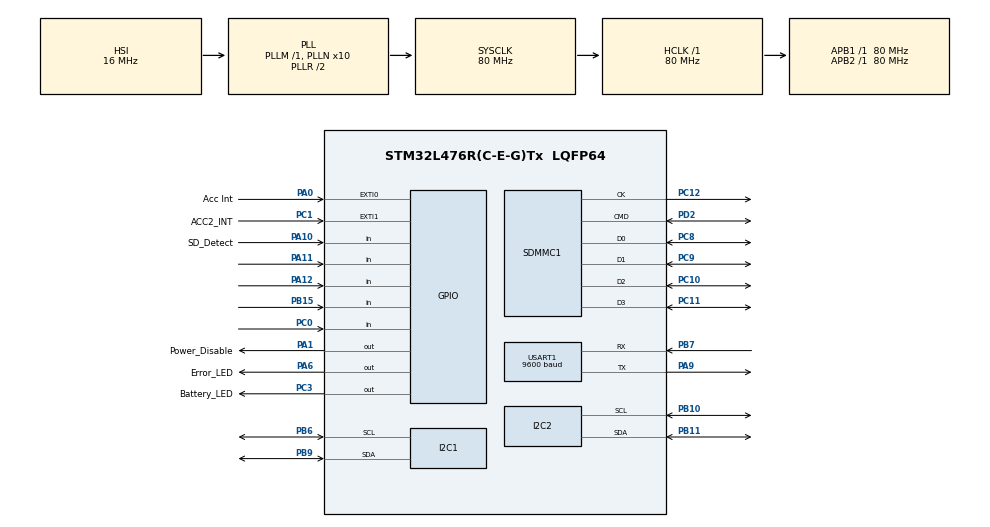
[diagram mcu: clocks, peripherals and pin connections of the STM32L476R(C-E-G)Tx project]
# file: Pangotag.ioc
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Dma.Request0=SDMMC1_RX
Dma.Request1=SDMMC1_TX
Dma.SDMMC1_RX.0.Direction=DMA_PERIPH_TO_MEMORY
Dma.SDMMC1_RX.0.Instance=DMA2_Channel5
Dma.SDMMC1_RX.0.MemDataAlignment=DMA_MDATAALIGN_WORD
Dma.SDMMC1_RX.0.MemInc=DMA_MINC_ENABLE
Dma.SDMMC1_RX.0.Mode=DMA_NORMAL
Dma.SDMMC1_RX.0.PeriphDataAlignment=DMA_PDATAALIGN_WORD
Dma.SDMMC1_RX.0.PeriphInc=DMA_PINC_DISABLE
Dma.SDMMC1_RX.0.Priority=DMA_PRIORITY_LOW
Dma.SDMMC1_TX.1.Direction=DMA_MEMORY_TO_PERIPH
Dma.SDMMC1_TX.1.Instance=DMA2_Channel4
Dma.SDMMC1_TX.1.MemDataAlignment=DMA_MDATAALIGN_WORD
Dma.SDMMC1_TX.1.MemInc=DMA_MINC_ENABLE
Dma.SDMMC1_TX.1.Mode=DMA_NORMAL
Dma.SDMMC1_TX.1.PeriphDataAlignment=DMA_PDATAALIGN_WORD
Dma.SDMMC1_TX.1.PeriphInc=DMA_PINC_DISABLE
Dma.SDMMC1_TX.1.Priority=DMA_PRIORITY_LOW
FATFS.BSP.number=1
FATFS.USE_DMA_CODE_SD=1
FATFS._FS_EXFAT=1
FATFS._USE_LFN=1
FATFS0.BSP.STBoard=false
FATFS0.BSP.api=Unknown
FATFS0.BSP.instance=PA10
FATFS0.BSP.ip=GPIO
FATFS0.BSP.mode=Input
FATFS0.BSP.name=Detect_SDIO
FATFS0.BSP.solution=PA10
I2C1.Timing=0x10D19CE4
I2C2.Timing=0x10D19CE4
Mcu.Family=STM32L4
Mcu.Name=STM32L476R(C-E-G)Tx
Mcu.Package=LQFP64
NVIC.DMA2_Channel4_IRQn=true\:0\:0\:false\:false\:true\:false\:true\:true
NVIC.DMA2_Channel5_IRQn=true\:0\:0\:false\:false\:true\:false\:true\:true
NVIC.EXTI0_IRQn=true\:0\:0\:false\:false\:true\:true\:true\:true
NVIC.EXTI1_IRQn=true\:0\:0\:false\:false\:true\:true\:true\:true
NVIC.PriorityGroup=NVIC_PRIORITYGROUP_4
NVIC.SDMMC1_IRQn=true\:0\:0\:false\:false\:true\:true\:true\:true
NVIC.USART1_IRQn=true\:0\:0\:false\:false\:true\:true\:true\:true
PA0.GPIO_Label=Acc Int
PA0.Signal=GPXTI0
PA1.GPIO_Label=Power_Disable
PA1.Signal=GPIO_Output
PA10.GPIO_Label=SD_Detect
PA10.Signal=GPIO_Input
PA11.Signal=GPIO_Input
PA12.Signal=GPIO_Input
PA13\ (JTMS-SWDIO).Signal=SYS_JTMS-SWDIO
PA14\ (JTCK-SWCLK).Signal=SYS_JTCK-SWCLK
PA6.GPIO_Label=Error_LED
PA6.Signal=GPIO_Output
PA9.GPIO_ModeDefaultPP=GPIO_MODE_AF_PP
PA9.Mode=Asynchronous
PA9.Signal=USART1_TX
PB10.Mode=I2C
PB10.Signal=I2C2_SCL
PB11.Mode=I2C
PB11.Signal=I2C2_SDA
PB15.Signal=GPIO_Input
PB3\ (JTDO-TRACESWO).Signal=SYS_JTDO-SWO
PB6.Mode=I2C
PB6.Signal=I2C1_SCL
PB7.GPIO_PuPd=GPIO_PULLUP
PB7.Mode=Asynchronous
PB7.Signal=USART1_RX
PB9.Mode=I2C
PB9.Signal=I2C1_SDA
PC0.Signal=GPIO_Input
PC1.GPIO_Label=ACC2_INT
PC1.Signal=GPXTI1
PC10.Mode=SD_4_bits_Wide_bus
PC10.Signal=SDMMC1_D2
PC11.Mode=SD_4_bits_Wide_bus
PC11.Signal=SDMMC1_D3
PC12.Mode=SD_4_bits_Wide_bus
PC12.Signal=SDMMC1_CK
PC3.GPIO_Label=Battery_LED
PC3.Signal=GPIO_Output
PC8.Mode=SD_4_bits_Wide_bus
PC8.Signal=SDMMC1_D0
PC9.Mode=SD_4_bits_Wide_bus
PC9.Signal=SDMMC1_D1
PD2.Mode=SD_4_bits_Wide_bus
PD2.Signal=SDMMC1_CMD
ProjectManager.HeapSize=0x200
ProjectManager.StackSize=0x400
ProjectManager.TargetToolchain=Makefile
RCC.ADCFreq_Value=64000000
RCC.AHBFreq_Value=80000000
RCC.APB1Freq_Value=80000000
RCC.APB1TimFreq_Value=80000000
RCC.APB2Freq_Value=80000000
RCC.APB2TimFreq_Value=80000000
RCC.CortexFreq_Value=80000000
RCC.HCLKFreq_Value=80000000
RCC.HSE_VALUE=8000000
RCC.HSI_VALUE=16000000
RCC.LSE_VALUE=32768
RCC.MSI_VALUE=4000000
RCC.PLLN=10
RCC.PLLSAI1Q=RCC_PLLQ_DIV4
RCC.PLLSourceVirtual=RCC_PLLSOURCE_HSI
RCC.SYSCLKFreq_VALUE=80000000
RCC.SYSCLKSource=RCC_SYSCLKSOURCE_PLLCLK
RCC.USBFreq_Value=32000000
RCC.VCOOutputFreq_Value=160000000
RTC.Format=RTC_FORMAT_BIN
RTC.HourFormat=RTC_HOURFORMAT_24
USART1.BaudRate=9600
USART1.Mode=MODE_TX_RX
USART1.VirtualMode-Asynchronous=VM_ASYNC
VP_FATFS_VS_SDIO.Mode=SDIO
VP_RTC_VS_RTC_Activate.Mode=RTC_Enabled
VP_RTC_VS_RTC_Calendar.Mode=RTC_Calendar
board=custom

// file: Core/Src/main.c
/* USER CODE BEGIN Header */
/**
  ******************************************************************************
  * @file           : main.c
  * @brief          : Main program body
  ******************************************************************************
  * @attention
  *
  * Copyright (c) 2026 STMicroelectronics.
  * All rights reserved.
  *
  * This software is licensed under terms that can be found in the LICENSE file
  * in the root directory of this software component.
  * If no LICENSE file comes with this software, it is provided AS-IS.
  *
  ******************************************************************************
  */
/* USER CODE END Header */
#include "main.h"
#include "dma.h"
#include "fatfs.h"
#include "i2c.h"
#include "rtc.h"
#include "sdmmc.h"
#include "usart.h"
#include "gpio.h"

/* USER CODE BEGIN Includes */
#include "libs.h"
/* USER CODE END Includes */

/* USER CODE BEGIN PTD */
extern const uint8_t bmi270_config_file[];

/* USER CODE END PTD */

/* USER CODE BEGIN PD */
volatile bool fifo_wm_flag = false;
DMA_HandleTypeDef hdma_sdmmc1;
void HAL_UART_ErrorCallback(UART_HandleTypeDef *huart)
{
    printf("UART Error: %lu\r\n", huart->ErrorCode);
}
/* USER CODE END PD */

/* USER CODE BEGIN PV */
uint32_t last_sec = 0;
/* USER CODE END PV */

void SystemClock_Config(void);
/* USER CODE BEGIN PFP */
int _write(int file, char *ptr, int len)
{
    for (int i = 0; i < len; i++) {
        ITM_SendChar(*ptr++);
    }
    return len;
}

void HAL_GPIO_EXTI_Callback(uint16_t GPIO_Pin)
{
    if (GPIO_Pin == ACC2_INT_Pin)
    {
        //printf("Interrupt!\n");
        fifo_wm_flag = true;
    }
    if (GPIO_Pin == Acc_Int_Pin) {
      printf("accelerometer interrupt received.\n");
    }
}

void delay_us(uint32_t us, void *intf_ptr)
{
    uint32_t start = DWT->CYCCNT;
    uint32_t ticks = us * (SystemCoreClock / 1000000);

    while ((DWT->CYCCNT - start) < ticks);
}

void update_LED(uint32_t elapsed, uint32_t interval) {
  if ((elapsed / interval) % 2 == 0) {
    //HAL_GPIO_WritePin(Error_LED_GPIO_Port, Error_LED_Pin, GPIO_PIN_SET);
    HAL_GPIO_WritePin(Battery_LED_GPIO_Port, Battery_LED_Pin, GPIO_PIN_SET);
  } else {
    //HAL_GPIO_WritePin(Error_LED_GPIO_Port, Error_LED_Pin, GPIO_PIN_RESET);
    HAL_GPIO_WritePin(Battery_LED_GPIO_Port, Battery_LED_Pin, GPIO_PIN_RESET);
  }
}
/* USER CODE END PFP */

/* USER CODE BEGIN 0 */

extern HAL_StatusTypeDef SD_DMAConfigRx(SD_HandleTypeDef *hsd);
extern HAL_StatusTypeDef SD_DMAConfigTx(SD_HandleTypeDef *hsd);

uint8_t BSP_SD_ReadBlocks_DMA(uint32_t *pData, uint32_t ReadAddr, uint32_t NumOfBlocks)
{
	uint8_t sd_state = MSD_OK;
  /* Invalidate the dma tx handle*/
  hsd1.hdmatx = NULL;

  /* Prepare the dma channel for a read operation */
  sd_state = SD_DMAConfigRx(&hsd1);

  if(sd_state == HAL_OK)
  {
	   /* Read block(s) in DMA transfer mode */
		sd_state = HAL_SD_ReadBlocks_DMA(&hsd1, (uint8_t *)pData, ReadAddr, NumOfBlocks);
  }

  if( sd_state == HAL_OK)
  {
	return MSD_OK;
  }
  else
  {
	return MSD_ERROR;
  }
}

uint8_t BSP_SD_WriteBlocks_DMA(uint32_t *pData, uint32_t WriteAddr, uint32_t NumOfBlocks)
{
	uint8_t sd_state = MSD_OK;

	  // Invalidate the dma rx handle
	  hsd1.hdmarx = NULL;

	  // Prepare the dma channel for a read operation
	  sd_state = SD_DMAConfigTx(&hsd1);

	  if(sd_state == HAL_OK)
	  {
		/* Write block(s) in DMA transfer mode */
		sd_state = HAL_SD_WriteBlocks_DMA(&hsd1, (uint8_t *)pData, WriteAddr, NumOfBlocks);
	  }

	  if( sd_state == HAL_OK)
	  {
		return MSD_OK;
	  }
	  else
	  {
		return MSD_ERROR;
	  }

	  return sd_state;
}

void hard_fault_handler_c(unsigned int *hardfault_args)
{
    volatile uint32_t stacked_r0  = hardfault_args[0];
    volatile uint32_t stacked_r1  = hardfault_args[1];
    volatile uint32_t stacked_r2  = hardfault_args[2];
    volatile uint32_t stacked_r3  = hardfault_args[3];
    volatile uint32_t stacked_r12 = hardfault_args[4];
    volatile uint32_t stacked_lr  = hardfault_args[5];
    volatile uint32_t stacked_pc  = hardfault_args[6];
    volatile uint32_t stacked_psr = hardfault_args[7];

    volatile uint32_t cfsr = SCB->CFSR;
    volatile uint32_t hfsr = SCB->HFSR;
    volatile uint32_t mmfar = SCB->MMFAR;
    volatile uint32_t bfar = SCB->BFAR;

    printf("HardFault! PC=0x%08lX LR=0x%08lX CFSR=0x%08lX HFSR=0x%08lX MMFAR=0x%08lX BFAR=0x%08lX\n",
           stacked_pc, stacked_lr, cfsr, hfsr, mmfar, bfar);

    (void)stacked_r0; (void)stacked_r1; (void)stacked_r2; (void)stacked_r3; (void)stacked_r12; (void)stacked_psr;

    while (1) { __NOP(); }  // put a breakpoint here
}
/* USER CODE END 0 */

int main(void)
{

  /* USER CODE BEGIN 1 */

  //enable cycle counting for precise us sleep
  CoreDebug->DEMCR |= CoreDebug_DEMCR_TRCENA_Msk;
  DWT->CYCCNT = 0;
  DWT->CTRL |= DWT_CTRL_CYCCNTENA_Msk;
  /* USER CODE END 1 */

  /* MCU Configuration--------------------------------------------------------*/

  /* Reset of all peripherals, Initializes the Flash interface and the Systick. */
  HAL_Init();

  /* USER CODE BEGIN Init */
  fifo.data = fifo_buffer;
  fifo.length = sizeof(fifo_buffer);
  RTC_TimeTypeDef ti = {0};
  RTC_DateTypeDef da = {0};
  /* USER CODE END Init */

  /* Configure the system clock */
  SystemClock_Config();

  /* Initialize all configured peripherals */
  MX_GPIO_Init();
  MX_DMA_Init();
  MX_I2C1_Init();
  MX_SDMMC1_SD_Init();
  MX_FATFS_Init();
  MX_I2C2_Init();
  MX_USART1_UART_Init();
  MX_RTC_Init();
  /* USER CODE BEGIN 2 */
  int res = initBMI270();

  while (res == -2 || res == -3) { // comm error, likely due to resetting
    if (res == -3) {
      sensors_off();
      HAL_Delay(1000);
      sensors_on();
    }
    HAL_Delay(2000);
    res = initBMI270();
  }

  if (res != 0) {
    Error_Handler();
  }

  initSD();
  initSDFiles();
  printf("SD Initialization successful!\n");

  initTMP();
  printf("TMP/PRS initialization successful!\n");

  initBMIC();

  GPS_Start();
  //set start time to post-initialization start
  startTime = HAL_GetTick();
  printf("Starting main loop...\n");
  for (int i = 0; i < 4; i++) {
    HAL_GPIO_WritePin(Battery_LED_GPIO_Port, Battery_LED_Pin, GPIO_PIN_SET);
    HAL_Delay(50);
    HAL_GPIO_WritePin(Battery_LED_GPIO_Port, Battery_LED_Pin, GPIO_PIN_RESET);
    HAL_Delay(50);
  }
  tag_sleep();
  /* USER CODE END 2 */

  /* Infinite loop */
  while (1)
  {

    /* USER CODE BEGIN 3 */
    if (fifo_wm_flag) {

      readBMI270();
      uint16_t fifo_len;
      bmi2_get_fifo_length(&fifo_len, &bmi270);
      if (fifo_len < FIFO_WM_THRESH) {
        fifo_wm_flag = false;
      }
    }
    if ((HAL_GetTick() - startTime)/1000 > last_sec) {
      last_sec = (HAL_GetTick() - startTime)/1000;
      readTMP();
      readGPS();
      readBMIC();
    }
    //printf("successful tmp sensor read!\n");
    update_LED(HAL_GetTick() - startTime, 1000);
    if ((HAL_GetTick() - startTime)/1000 > 300) {
      tag_sleep(); //sleep after 5 minutes. If still moving, tag will immediately wake up again.
      last_sec = (HAL_GetTick() - startTime)/1000;
    }
    //HAL_Delay(1000);
  }
  /* USER CODE END 3 */
}

void SystemClock_Config(void)
{
  RCC_OscInitTypeDef RCC_OscInitStruct = {0};
  RCC_ClkInitTypeDef RCC_ClkInitStruct = {0};

  /** Configure the main internal regulator output voltage
  */
  if (HAL_PWREx_ControlVoltageScaling(PWR_REGULATOR_VOLTAGE_SCALE1) != HAL_OK)
  {
    Error_Handler();
  }

  /** Initializes the RCC Oscillators according to the specified parameters
  * in the RCC_OscInitTypeDef structure.
  */
  RCC_OscInitStruct.OscillatorType = RCC_OSCILLATORTYPE_HSI|RCC_OSCILLATORTYPE_LSI;
  RCC_OscInitStruct.HSIState = RCC_HSI_ON;
  RCC_OscInitStruct.HSICalibrationValue = RCC_HSICALIBRATION_DEFAULT;
  RCC_OscInitStruct.LSIState = RCC_LSI_ON;
  RCC_OscInitStruct.PLL.PLLState = RCC_PLL_ON;
  RCC_OscInitStruct.PLL.PLLSource = RCC_PLLSOURCE_HSI;
  RCC_OscInitStruct.PLL.PLLM = 1;
  RCC_OscInitStruct.PLL.PLLN = 10;
  RCC_OscInitStruct.PLL.PLLP = RCC_PLLP_DIV7;
  RCC_OscInitStruct.PLL.PLLQ = RCC_PLLQ_DIV2;
  RCC_OscInitStruct.PLL.PLLR = RCC_PLLR_DIV2;
  if (HAL_RCC_OscConfig(&RCC_OscInitStruct) != HAL_OK)
  {
    Error_Handler();
  }

  /** Initializes the CPU, AHB and APB buses clocks
  */
  RCC_ClkInitStruct.ClockType = RCC_CLOCKTYPE_HCLK|RCC_CLOCKTYPE_SYSCLK
                              |RCC_CLOCKTYPE_PCLK1|RCC_CLOCKTYPE_PCLK2;
  RCC_ClkInitStruct.SYSCLKSource = RCC_SYSCLKSOURCE_PLLCLK;
  RCC_ClkInitStruct.AHBCLKDivider = RCC_SYSCLK_DIV1;
  RCC_ClkInitStruct.APB1CLKDivider = RCC_HCLK_DIV1;
  RCC_ClkInitStruct.APB2CLKDivider = RCC_HCLK_DIV1;

  if (HAL_RCC_ClockConfig(&RCC_ClkInitStruct, FLASH_LATENCY_4) != HAL_OK)
  {
    Error_Handler();
  }
}

void Error_Handler(void)
{
  /* USER CODE BEGIN Error_Handler_Debug */
  /* User can add his own implementation to report the HAL error return state */
  __disable_irq();
  HAL_GPIO_WritePin(Error_LED_GPIO_Port, Error_LED_Pin, GPIO_PIN_SET);
  while (1)
  {
  }
  /* USER CODE END Error_Handler_Debug */
}
